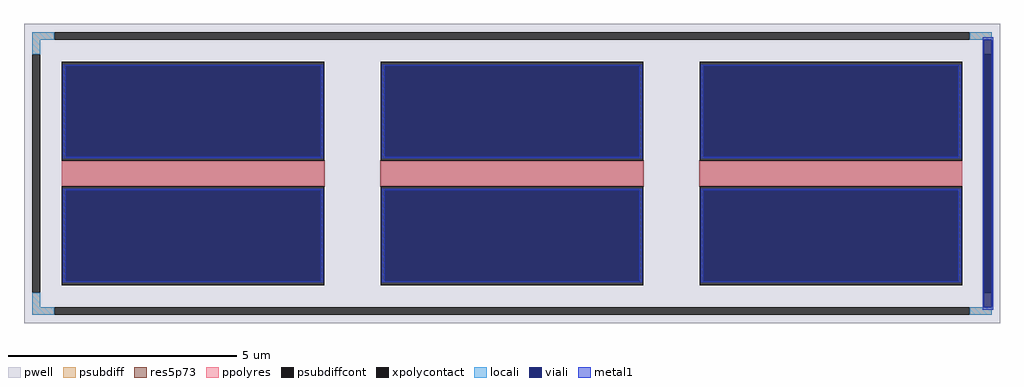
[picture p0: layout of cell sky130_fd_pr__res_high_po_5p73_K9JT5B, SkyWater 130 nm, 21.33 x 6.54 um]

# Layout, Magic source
magic
tech sky130A
magscale 1 2
<< pwell >>
rect -2133 -654 2133 654
<< psubdiff >>
rect -2097 584 -2001 618
rect 2001 584 2097 618
rect -2097 522 -2063 584
rect 2063 522 2097 584
rect -2097 -584 -2063 -522
rect 2063 -584 2097 -522
rect -2097 -618 -2001 -584
rect 2001 -618 2097 -584
<< psubdiffcont >>
rect -2001 584 2001 618
rect -2097 -522 -2063 522
rect 2063 -522 2097 522
rect -2001 -618 2001 -584
<< xpolycontact >>
rect -1967 56 -821 488
rect -1967 -488 -821 -56
rect -573 56 573 488
rect -573 -488 573 -56
rect 821 56 1967 488
rect 821 -488 1967 -56
<< ppolyres >>
rect -1967 -56 -821 56
rect -573 -56 573 56
rect 821 -56 1967 56
<< locali >>
rect -2097 584 -2001 618
rect 2001 584 2097 618
rect -2097 522 -2063 584
rect -2097 -584 -2063 -522
rect -2097 -618 -2001 -584
rect 2001 -618 2097 -584
<< viali >>
rect 2063 522 2097 584
rect -1951 73 -837 470
rect -557 73 557 470
rect 837 73 1951 470
rect -1951 -470 -837 -73
rect -557 -470 557 -73
rect 837 -470 1951 -73
rect 2063 -522 2097 522
rect 2063 -584 2097 -522
<< metal1 >>
rect 2057 584 2103 596
rect -1963 470 -825 476
rect -1963 73 -1951 470
rect -837 73 -825 470
rect -1963 67 -825 73
rect -569 470 569 476
rect -569 73 -557 470
rect 557 73 569 470
rect -569 67 569 73
rect 825 470 1963 476
rect 825 73 837 470
rect 1951 73 1963 470
rect 825 67 1963 73
rect -1963 -73 -825 -67
rect -1963 -470 -1951 -73
rect -837 -470 -825 -73
rect -1963 -476 -825 -470
rect -569 -73 569 -67
rect -569 -470 -557 -73
rect 557 -470 569 -73
rect -569 -476 569 -470
rect 825 -73 1963 -67
rect 825 -470 837 -73
rect 1951 -470 1963 -73
rect 825 -476 1963 -470
rect 2057 -584 2063 584
rect 2097 -584 2103 584
rect 2057 -596 2103 -584
<< res5p73 >>
rect -1969 -58 -819 58
rect -575 -58 575 58
rect 819 -58 1969 58
<< properties >>
string gencell sky130_fd_pr__res_high_po_5p73
string FIXED_BBOX -2080 -601 2080 601
string parameters w 5.730 l 0.56 m 1 nx 3 wmin 5.730 lmin 0.50 rho 319.8 val 37.951 dummy 0 dw 0.0 term 19.188 sterm 0.0 caplen 0 guard 1 glc 1 grc 1 gtc 1 gbc 1 compatible {sky130_fd_pr__res_high_po_0p35  sky130_fd_pr__res_high_po_0p69 sky130_fd_pr__res_high_po_1p41  sky130_fd_pr__res_high_po_2p85 sky130_fd_pr__res_high_po_5p73} full_metal 1 wmax 5.730 n_guard 0 hv_guard 0 vias 1 viagb 0 viagt 0 viagl 0 viagr 100
string library sky130
<< end >>
